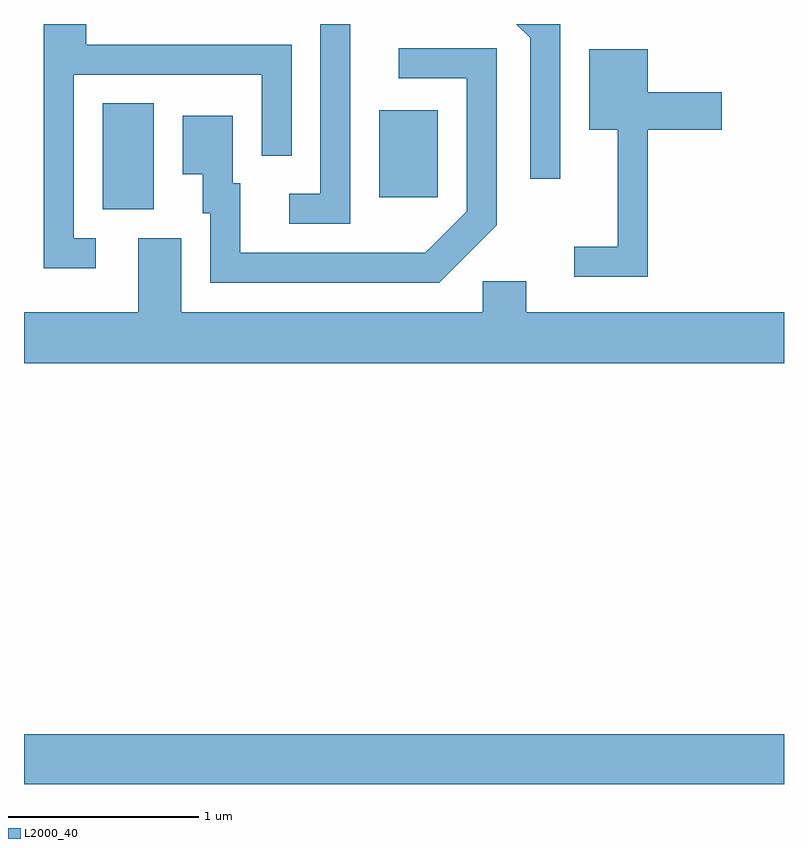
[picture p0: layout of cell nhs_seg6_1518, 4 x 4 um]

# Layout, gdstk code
import gdstk
lib = gdstk.Library(unit=1e-6, precision=1e-09)
def R(c, l, rs):  # rectangles x0, y0, x1, y1
    for r in rs: c.add(gdstk.rectangle(r[:2], r[2:], *l))
def P(c, l, *ps):  # polygons
    for p in ps: c.add(gdstk.Polygon(p, *l))
L2000_40 = (2000, 40)

nhs_seg6_1518 = lib.new_cell('nhs_seg6_1518')
R(nhs_seg6_1518, L2000_40, [(229.611,1652.162,233.611,1652.424), (230.026,1655.186,230.294,1655.744), (231.481,1655.251,231.789,1655.709)])
P(nhs_seg6_1518, L2000_40, [(231.329,1656.162),(231.171,1656.162),(231.171,1655.269),(231.008,1655.269),(231.008,1655.111),(231.329,1655.111)],
  [(232.434,1656.162),(232.203,1656.162),(232.276,1656.089),(232.276,1655.348),(232.434,1655.348)],
  [(229.988,1655.034),(229.874,1655.034),(229.874,1655.896),(230.861,1655.896),(230.861,1655.468),(231.019,1655.468),(231.019,1656.054),(229.939,1656.054),(229.939,1656.162),(229.716,1656.162),(229.716,1654.876),(229.988,1654.876)],
  [(232.099,1655.104),(232.099,1656.034),(231.583,1656.034),(231.583,1655.876),(231.941,1655.876),(231.941,1655.177),(231.724,1654.959),(230.749,1654.959),(230.749,1655.324),(230.709,1655.324),(230.709,1655.679),(230.446,1655.679),(230.446,1655.371),(230.551,1655.371),(230.551,1655.166),(230.591,1655.166),(230.591,1654.801),(231.797,1654.801)],
  [(232.894,1655.606),(233.284,1655.606),(233.284,1655.804),(232.894,1655.804),(232.894,1656.029),(232.586,1656.029),(232.586,1655.606),(232.736,1655.606),(232.736,1654.989),(232.508,1654.989),(232.508,1654.831),(232.894,1654.831)],
  [(233.611,1654.644),(232.254,1654.644),(232.254,1654.809),(232.026,1654.809),(232.026,1654.644),(230.439,1654.644),(230.439,1655.034),(230.211,1655.034),(230.211,1654.644),(229.611,1654.644),(229.611,1654.376),(233.611,1654.376)])

lib.write_gds('nhs_seg6_1518.gds')
